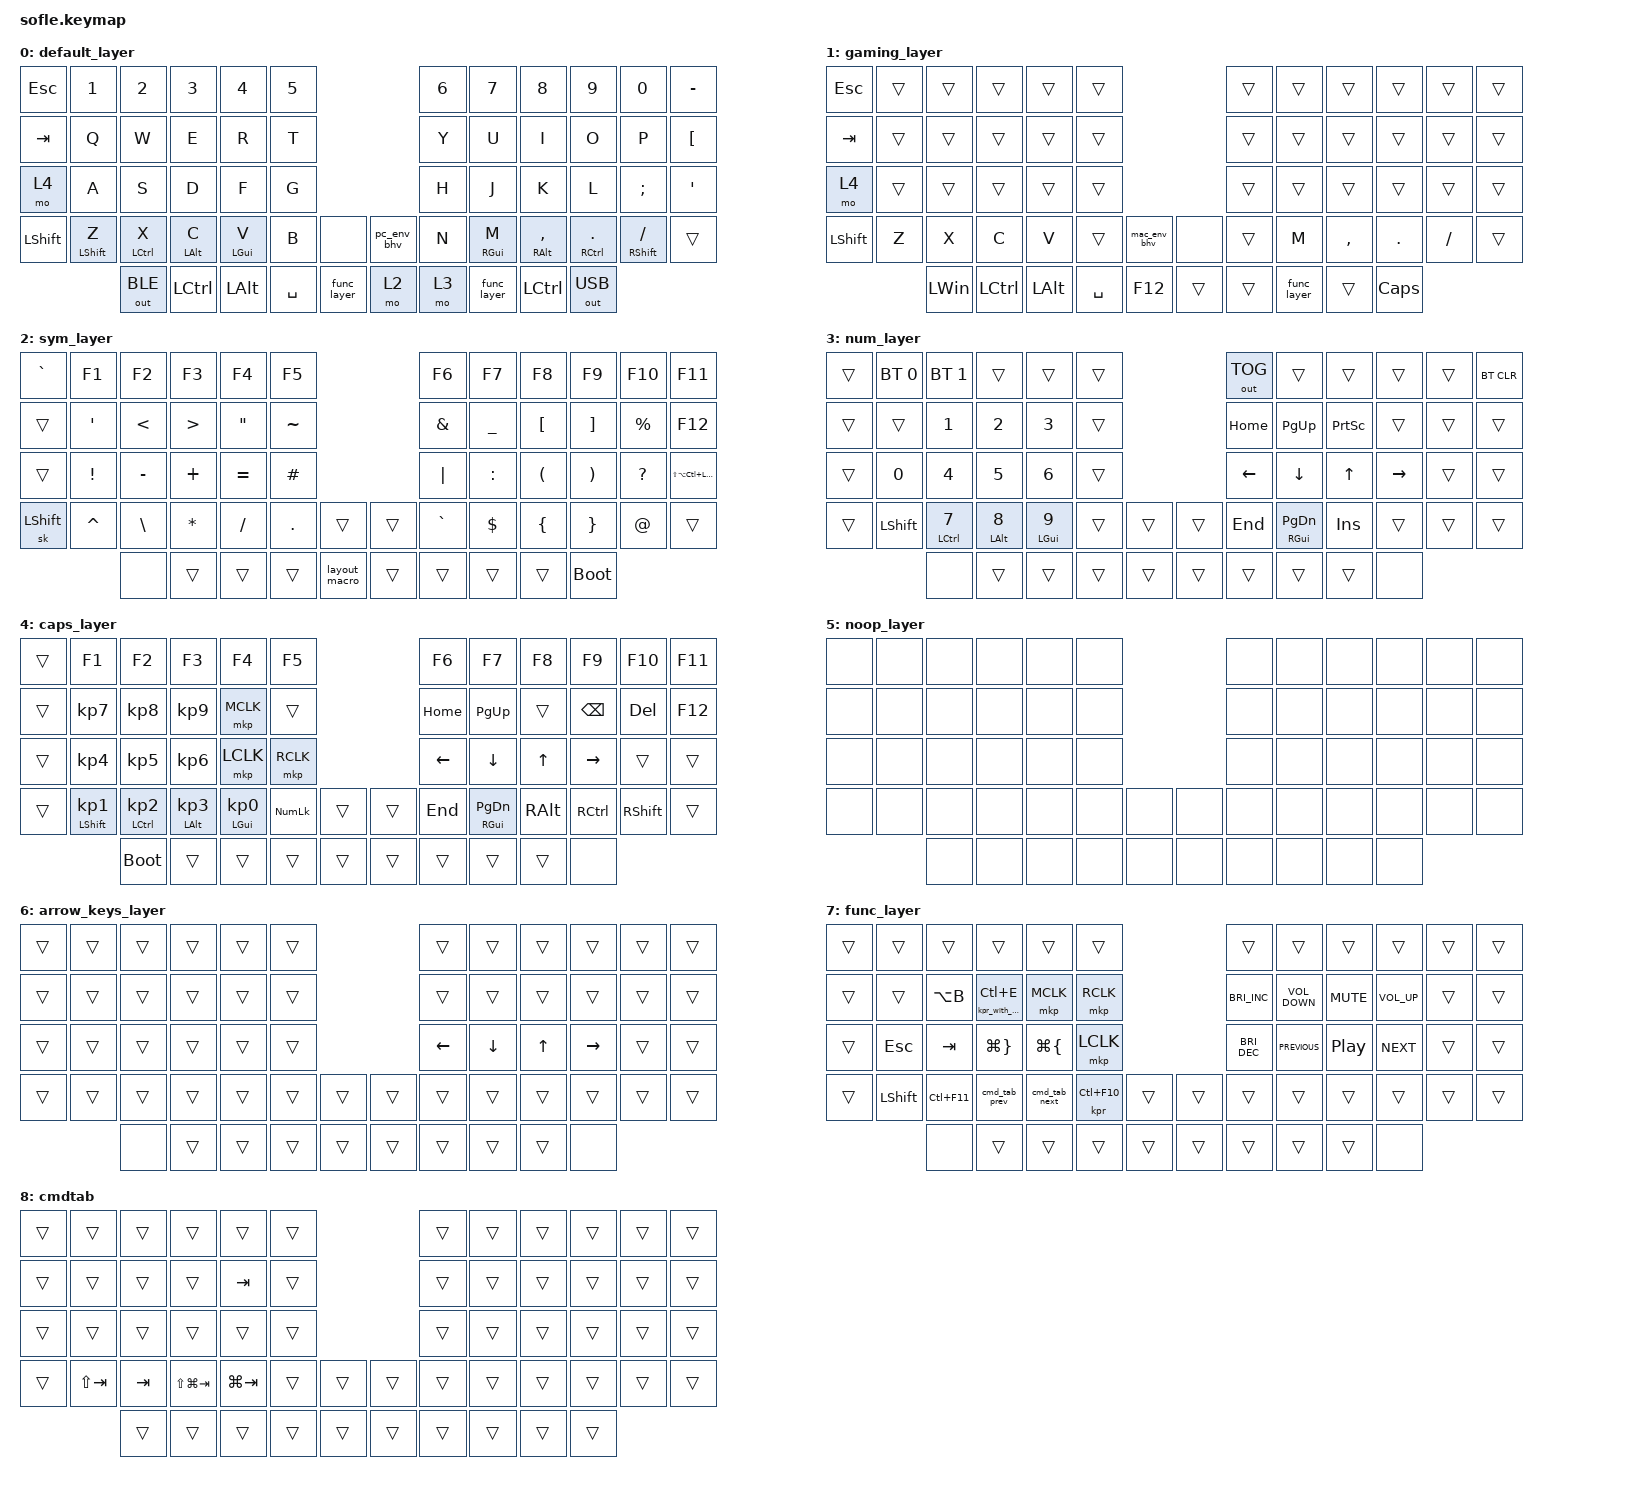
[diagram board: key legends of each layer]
/*
 * Copyright (c) 2020 The ZMK Contributors
 *
 * SPDX-License-Identifier: MIT
 */

#include <dt-bindings/zmk/mouse.h>
#include <behaviors.dtsi>
#include <dt-bindings/zmk/bt.h>
#include <dt-bindings/zmk/keys.h>
#include <dt-bindings/zmk/outputs.h>
#include <dt-bindings/zmk/pointing.h>

&lt { tapping-term-ms = <150>; };

&sk { quick-release; };

&sl {
};

/ {
    combos {
        compatible = "zmk,combos";

        command_space {
            bindings = <&kp LG(SPACE)>;
            key-positions = <28 27>;
            timeout-ms = <30>;
            layers = <0>;
            require-prior-idle-ms = <70>;
        };

        sticky_shift {
            bindings = <&sk LEFT_SHIFT>;
            key-positions = <31 32>;
            require-prior-idle-ms = <35>;
            timeout-ms = <35>;
            layers = <0>;
        };

        caps_word {
            bindings = <&caps_word>;
            key-positions = <33 32 31>;
            timeout-ms = <35>;
            require-prior-idle-ms = <45>;
            layers = <0>;
        };

        backspace {
            bindings = <&kp BACKSPACE>;
            key-positions = <20 19>;
            timeout-ms = <40>;
            require-prior-idle-ms = <35>;
        };

        enter {
            bindings = <&kp ENTER>;
            key-positions = <45 46>;
            timeout-ms = <25>;
            require-prior-idle-ms = <30>;
        };

        escape_disabled {
            bindings = <&trans>;
            key-positions = <14 15 16 17>;
            timeout-ms = <50>;
            require-prior-idle-ms = <570>;
            layers = <0 2 3 5 6>;
        };

        delete_word_mac {
            bindings = <&kp LA(BACKSPACE)>;
            key-positions = <20 19 21>;
            timeout-ms = <40>;
            require-prior-idle-ms = <40>;
            layers = <0 2 3 5>;
        };

        gaming__enter {
            bindings = <&kp ENTER>;
            key-positions = <40 39>;
            timeout-ms = <45>;
            require-prior-idle-ms = <40>;
            layers = <1>;
        };

        gaming_layer_set {
            bindings = <&to 1>;
            key-positions = <2 3 4 15 16 14>;
            timeout-ms = <30>;
            require-prior-idle-ms = <200>;
            layers = <0>;
        };

        default_layer_set {
            bindings = <&to 0>;
            key-positions = <2 1 3 13 14 15>;
            timeout-ms = <35>;
            require-prior-idle-ms = <200>;
            layers = <1>;
        };

        copy {
            bindings = <&kp LG(C)>;
            key-positions = <38 39>;
            timeout-ms = <25>;
            require-prior-idle-ms = <50>;
            layers = <0 5>;
        };

        paste {
            bindings = <&kp LG(V)>;
            key-positions = <39 40>;
            timeout-ms = <20>;
            require-prior-idle-ms = <50>;
            layers = <0 5>;
        };

        lang_change_windows {
            bindings = <&kp LA(LEFT_SHIFT)>;
            key-positions = <32 33>;
            timeout-ms = <30>;
            require-prior-idle-ms = <80>;
            layers = <1>;
        };

        lang_change_mac {
            bindings = <&kp LC(SPACE)>;
            key-positions = <32 33>;
            timeout-ms = <20>;
            require-prior-idle-ms = <70>;
            layers = <0>;
        };

        hyper {
            bindings = <&sk LS(LA(LC(LGUI)))>;
            key-positions = <28 31>;
            timeout-ms = <50>;
            require-prior-idle-ms = <80>;
            layers = <0>;
        };

        delete {
            bindings = <&kp DELETE>;
            key-positions = <20 21>;
            timeout-ms = <35>;
            require-prior-idle-ms = <100>;
        };
    };

    macros {
        layout_macro: layout_macro {
            compatible = "zmk,behavior-macro";
            #binding-cells = <0>;
            bindings =
                <&macro_tap>,
                <&kp LC(SPACE)>,
                <&macro_pause_for_release>,
                <&macro_tap>,
                <&kp LC(SPACE)>;

            label = "LAYOUT_MACRO";
            wait-ms = <5>;
            tap-ms = <5>;
        };

        func_layer: edit_altab_qwerty {
            compatible = "zmk,behavior-macro";
            #binding-cells = <0>;
            bindings =
                <&macro_press>,
                <&mo 7>,
                <&macro_pause_for_release>,
                <&macro_release>,
                <&mo 8 &mo 7 &kp LEFT_GUI>;

            label = "FUNC_LAYER";
            wait-ms = <0>;
            tap-ms = <20>;
        };

        cmdtab: cmdtab {
            compatible = "zmk,behavior-macro";
            #binding-cells = <0>;
            bindings = <&macro_tap>, <&kp LG(TAB) &to 8>;

            label = "CMDTAB";
        };

        navlayer_ctrltab: navlayer_ctrltab {
            compatible = "zmk,behavior-macro";
            #binding-cells = <0>;
            bindings =
                <&to 7>,
                <&macro_pause_for_release>,
                <&macro_release>,
                <&kp LCTRL>,
                <&macro_tap>,
                <&to 0>;

            label = "NAVLAYER_CTRLTAB";
        };

        ctrltab: ctrltab {
            compatible = "zmk,behavior-macro";
            #binding-cells = <0>;
            bindings =
                <&macro_tap>,
                <&to 8>,
                <&macro_press>,
                <&kp LCTRL>,
                <&macro_tap>,
                <&kp TAB>;

            label = "CTRLTAB";
        };

        pc_env: next_env {
            compatible = "zmk,behavior-macro";
            #binding-cells = <0>;
            bindings = <&kp LA(LS(NUMBER_2)) &to 1 &out OUT_USB>;
            label = "NEXT_ENV";
        };

        mac_env: mac_env {
            compatible = "zmk,behavior-macro";
            #binding-cells = <0>;
            bindings = <&kp LA(LS(NUMBER_1)) &to 0 &out OUT_BLE>;
            label = "MAC_ENV";
        };

        alttab: alt_tab {
            compatible = "zmk,behavior-macro";
            #binding-cells = <0>;
            bindings =
                <&macro_tap>,
                <&to 8>,
                <&macro_press>,
                <&kp LEFT_ALT>,
                <&macro_tap>,
                <&kp TAB>;

            label = "ALT_TAB";
        };

        layout_macro_win: layout_macro_win {
            compatible = "zmk,behavior-macro";
            #binding-cells = <0>;
            bindings =
                <&macro_tap>,
                <&kp LA(LEFT_SHIFT)>,
                <&macro_pause_for_release>,
                <&macro_tap>,
                <&kp LA(LEFT_SHIFT)>;

            label = "LAYOUT_MACRO_WIN";
            wait-ms = <5>;
            tap-ms = <5>;
        };

        escape_layout_switch: escape_layout_switch {
            compatible = "zmk,behavior-macro";
            #binding-cells = <0>;
            bindings = <&kp ESCAPE &kp F13>;
            label = "ESCAPE_LAYOUT_SWITCH";
        };

        kpr: press_and_release {
            compatible = "zmk,behavior-macro-one-param";
            #binding-cells = <1>;
            bindings = <&macro_tap>, <&macro_param_1to1 &kp MACRO_PLACEHOLDER>;

            label = "PRESS_AND_RELEASE";
        };

        cmd_tab: cmd_tab {
            compatible = "zmk,behavior-macro";
            #binding-cells = <0>;
            bindings = <&macro_tap>, <&kp LG(TAB)>;

            label = "CMD_TAB";
        };

        cmd_tab_prev: cmd_tab_prev {
            compatible = "zmk,behavior-macro";
            #binding-cells = <0>;
            bindings =
                <&macro_press>,
                <&kp LEFT_GUI &mo 8>,
                <&macro_tap>,
                <&kp LS(TAB)>;

            label = "CMD_TAB_PREV";
            wait-ms = <5>;
            tap-ms = <20>;
        };

        cmd_tab_next: cmd_tab_next {
            compatible = "zmk,behavior-macro";
            #binding-cells = <0>;
            bindings =
                <&macro_press>,
                <&kp LEFT_GUI &mo 8>,
                <&macro_tap>,
                <&kp TAB>;

            label = "CMD_TAB_NEXT";
            wait-ms = <5>;
            tap-ms = <20>;
        };

        kpr_with_fallback: kpr_with_fallback {
            compatible = "zmk,behavior-macro-one-param";
            #binding-cells = <1>;
            bindings =
                <&macro_tap>,
                <&macro_param_1to1 &kp MACRO_PLACEHOLDER &to 0>;

            label = "KPR_WITH_FALLBACK";
        };
    };

    behaviors {
        hml: hml {
            compatible = "zmk,behavior-hold-tap";
            label = "HML";
            bindings = <&kp>, <&kp>;

            #binding-cells = <2>;
            tapping-term-ms = <225>;
            flavor = "balanced";
            quick-tap-ms = <175>;
            require-prior-idle-ms = <125>;
            hold-trigger-key-positions = <18 19 20 21 22 30 31 32 33 34 44 45 46 47 48 23 35 49 1 2 3 4 5 12 55 56>;
            hold-trigger-on-release;
        };

        hmr: hmr {
            compatible = "zmk,behavior-hold-tap";
            label = "HMR";
            bindings = <&kp>, <&kp>;

            #binding-cells = <2>;
            tapping-term-ms = <225>;
            flavor = "balanced";
            quick-tap-ms = <175>;
            require-prior-idle-ms = <125>;
            hold-trigger-key-positions = <13 14 15 16 17 25 26 27 28 29 37 38 39 40 41 12 24 36 55 56>;
            hold-trigger-on-release;
        };

        mac_env_bhv: mac_env_bhv {
            compatible = "zmk,behavior-tap-dance";
            label = "MAC_ENV_BHV";
            #binding-cells = <0>;
            bindings = <&to 0>, <&mac_env>;

            tapping-term-ms = <250>;
        };

        pc_env_bhv: pc_env_bhv {
            compatible = "zmk,behavior-tap-dance";
            label = "PC_ENV_BHV";
            #binding-cells = <0>;
            bindings = <&to 1>, <&pc_env>;

            tapping-term-ms = <250>;
        };

        layout_back_and_to: layout_back_and_to {
            compatible = "zmk,behavior-hold-tap";
            label = "LAYOUT_BACK_AND_TO";
            bindings = <&mo>, <&esc_abc>;

            #binding-cells = <2>;
            tapping-term-ms = <180>;
            flavor = "tap-preferred";
            require-prior-idle-ms = <5>;
            quick-tap-ms = <100>;
        };

        esc_abc: esc_abc {
            compatible = "zmk,behavior-tap-dance";
            label = "ESC_ABC";
            #binding-cells = <0>;
            bindings = <&kp LC(SPACE)>, <&kp ESCAPE>;

            tapping-term-ms = <250>;
        };

        hml_quick: hml_quick {
            compatible = "zmk,behavior-hold-tap";
            label = "HML_QUICK";
            bindings = <&kp>, <&kp>;

            #binding-cells = <2>;
            tapping-term-ms = <200>;
            hold-trigger-key-positions = <12 1 2 3 4 5 18 20 21 22 34 47 33 32 31 30 44 45 46 19 23 35 49 37 38 39 40 55 56 48 54>;
            hold-while-undecided;
            require-prior-idle-ms = <80>;
        };

        hmr_quick: hmr_quick {
            compatible = "zmk,behavior-hold-tap";
            label = "HMR_QUICK";
            bindings = <&kp>, <&kp>;

            #binding-cells = <2>;
            tapping-term-ms = <200>;
            hold-trigger-key-positions = <17 29 41 40 39 38 36 24 25 12 13 14 26 27 15 16 28 6 7 8 9 10 45 46 47 48 55 56 37 54>;
            hold-while-undecided;
            require-prior-idle-ms = <80>;
        };
    };

    keymap {
        compatible = "zmk,keymap";

        default_layer {
            bindings = <
&kp ESCAPE      &kp N1             &kp N2        &kp N3            &kp N4           &kp N5                                 &kp N6  &kp N7            &kp N8                &kp N9          &kp N0                  &kp MINUS
&kp TAB         &kp Q              &kp W         &kp E             &kp R            &kp T                                  &kp Y   &kp U             &kp I                 &kp O           &kp P                   &kp LBKT
&mo 4           &kp A              &kp S         &kp D             &kp F            &kp G                                  &kp H   &kp J             &kp K                 &kp L           &kp SEMI                &kp SQT
&kp LEFT_SHIFT  &hml LEFT_SHIFT Z  &hml LCTRL X  &hml LEFT_ALT C   &hml LEFT_GUI V  &kp B      &none          &pc_env_bhv  &kp N   &hmr RIGHT_GUI M  &hmr RIGHT_ALT COMMA  &hmr RCTRL DOT  &hmr RIGHT_SHIFT SLASH  &trans
                                   &out OUT_BLE  &kp LEFT_CONTROL  &kp LEFT_ALT     &kp SPACE  &func_layer    &mo 2        &mo 3   &func_layer       &kp LCTRL             &out OUT_USB
            >;
        };

        gaming_layer {
            bindings = <
&kp ESCAPE      &trans  &trans        &trans     &trans        &trans                             &trans  &trans       &trans     &trans        &trans    &trans
&kp TAB         &trans  &trans        &trans     &trans        &trans                             &trans  &trans       &trans     &trans        &trans    &trans
&mo 4           &trans  &trans        &trans     &trans        &trans                             &trans  &trans       &trans     &trans        &trans    &trans
&kp LEFT_SHIFT  &kp Z   &kp X         &kp C      &kp V         &trans     &mac_env_bhv    &none   &trans  &kp M        &kp COMMA  &kp DOT       &kp FSLH  &trans
                        &kp LEFT_WIN  &kp LCTRL  &kp LEFT_ALT  &kp SPACE  &kp F12         &trans  &trans  &func_layer  &trans     &kp CAPSLOCK
            >;
        };

        sym_layer {
            bindings = <
&kp GRAVE       &kp F1           &kp F2         &kp F3            &kp F4             &kp F5                               &kp F6         &kp F7          &kp F8                &kp F9                 &kp F10       &kp F11
&trans          &kp SQT          &kp LESS_THAN  &kp GREATER_THAN  &kp DOUBLE_QUOTES  &kp TILDE                            &kp AMPERSAND  &kp UNDERSCORE  &kp LBKT              &kp RBKT               &kp PERCENT   &kp F12
&trans          &kp EXCLAMATION  &kp MINUS      &kp PLUS          &kp EQUAL          &kp HASH                             &kp PIPE       &kp COLON       &kp LEFT_PARENTHESIS  &kp RIGHT_PARENTHESIS  &kp QUESTION  &kp LS(LA(LC(LGUI)))
&sk LEFT_SHIFT  &kp CARET        &kp BACKSLASH  &kp ASTERISK      &kp SLASH          &kp PERIOD  &trans           &trans  &kp GRAVE      &kp DOLLAR      &kp LEFT_BRACE        &kp RIGHT_BRACE        &kp AT_SIGN   &trans
                                 &none          &trans            &trans             &trans      &layout_macro    &trans  &trans         &trans          &trans                &bootloader
            >;
        };

        num_layer {
            bindings = <
&trans  &bt BT_SEL 0    &bt BT_SEL 1          &trans            &trans            &trans                    &out OUT_TOG  &trans                    &trans           &trans     &trans  &bt BT_CLR
&trans  &trans          &kp N1                &kp N2            &kp N3            &trans                    &kp HOME      &kp PAGE_UP               &kp PRINTSCREEN  &trans     &trans  &trans
&trans  &kp NUMBER_0    &kp N4                &kp N5            &kp N6            &trans                    &kp LEFT      &kp DOWN                  &kp UP_ARROW     &kp RIGHT  &trans  &trans
&trans  &kp LEFT_SHIFT  &hml LEFT_CONTROL N7  &hml LEFT_ALT N8  &hml LEFT_GUI N9  &trans  &trans    &trans  &kp END       &hmr RIGHT_GUI PAGE_DOWN  &kp INSERT       &trans     &trans  &trans
                        &none                 &trans            &trans            &trans  &trans    &trans  &trans        &trans                    &trans           &none
            >;
        };

        caps_layer {
            bindings = <
&trans  &kp F1                       &kp F2                  &kp F3                     &kp F4                     &kp F5                        &kp F6    &kp F7                    &kp F8         &kp F9         &kp F10     &kp F11
&trans  &kp KP_NUMBER_7              &kp KP_NUMBER_8         &kp KP_NUMBER_9            &mkp MCLK                  &trans                        &kp HOME  &kp PG_UP                 &trans         &kp BACKSPACE  &kp DELETE  &kp F12
&trans  &kp KP_NUMBER_4              &kp KP_N5               &kp KP_NUMBER_6            &mkp LCLK                  &mkp RCLK                     &kp LEFT  &kp DOWN                  &kp UP         &kp RIGHT      &trans      &trans
&trans  &hml LEFT_SHIFT KP_NUMBER_1  &hml LCTRL KP_NUMBER_2  &hml LEFT_ALT KP_NUMBER_3  &hml LEFT_GUI KP_NUMBER_0  &kp KP_NUM  &trans    &trans  &kp END   &hmr RIGHT_GUI PAGE_DOWN  &kp RIGHT_ALT  &kp RCTRL      &kp RSHFT   &trans
                                     &bootloader             &trans                     &trans                     &trans      &trans    &trans  &trans    &trans                    &trans         &none
            >;
        };

        noop_layer {
            bindings = <
&none  &none  &none  &none  &none  &none                  &none  &none  &none  &none  &none  &none
&none  &none  &none  &none  &none  &none                  &none  &none  &none  &none  &none  &none
&none  &none  &none  &none  &none  &none                  &none  &none  &none  &none  &none  &none
&none  &none  &none  &none  &none  &none  &none    &none  &none  &none  &none  &none  &none  &none
              &none  &none  &none  &none  &none    &none  &none  &none  &none  &none
            >;
        };

        arrow_keys_layer {
            bindings = <
&trans  &trans  &trans  &trans  &trans  &trans                    &trans    &trans    &trans  &trans     &trans  &trans
&trans  &trans  &trans  &trans  &trans  &trans                    &trans    &trans    &trans  &trans     &trans  &trans
&trans  &trans  &trans  &trans  &trans  &trans                    &kp LEFT  &kp DOWN  &kp UP  &kp RIGHT  &trans  &trans
&trans  &trans  &trans  &trans  &trans  &trans  &trans    &trans  &trans    &trans    &trans  &trans     &trans  &trans
                &none   &trans  &trans  &trans  &trans    &trans  &trans    &trans    &trans  &none
            >;
        };

        func_layer {
            bindings = <
&trans  &trans          &trans       &trans                    &trans              &trans                          &trans                &trans             &trans            &trans           &trans  &trans
&trans  &trans          &kp LA(B)    &kpr_with_fallback LC(E)  &mkp MCLK           &mkp RCLK                       &kp C_BRIGHTNESS_INC  &kp C_VOLUME_DOWN  &kp K_MUTE        &kp C_VOLUME_UP  &trans  &trans
&trans  &kp ESCAPE      &kp TAB      &kp LG(RIGHT_BRACE)       &kp LG(LEFT_BRACE)  &mkp LCLK                       &kp C_BRIGHTNESS_DEC  &kp C_PREVIOUS     &kp C_PLAY_PAUSE  &kp C_NEXT       &trans  &trans
&trans  &kp LEFT_SHIFT  &kp LC(F11)  &cmd_tab_prev             &cmd_tab_next       &kpr LC(F10)  &trans    &trans  &trans                &trans             &trans            &trans           &trans  &trans
                        &none        &trans                    &trans              &trans        &trans    &trans  &trans                &trans             &trans            &none
            >;
        };

        cmdtab {
            bindings = <
&trans  &trans       &trans   &trans           &trans       &trans                    &trans  &trans  &trans  &trans  &trans  &trans
&trans  &trans       &trans   &trans           &kp TAB      &trans                    &trans  &trans  &trans  &trans  &trans  &trans
&trans  &trans       &trans   &trans           &trans       &trans                    &trans  &trans  &trans  &trans  &trans  &trans
&trans  &kp LS(TAB)  &kp TAB  &kp LS(LG(TAB))  &kp LG(TAB)  &trans  &trans    &trans  &trans  &trans  &trans  &trans  &trans  &trans
                     &trans   &trans           &trans       &trans  &trans    &trans  &trans  &trans  &trans  &trans
            >;
        };
    };
};
